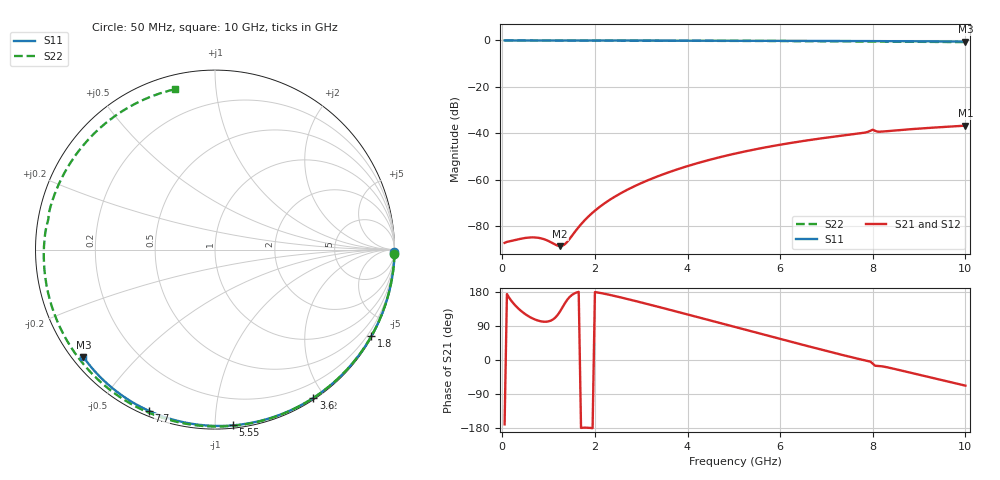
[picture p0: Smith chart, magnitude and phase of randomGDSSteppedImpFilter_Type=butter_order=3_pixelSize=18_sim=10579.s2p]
! freq	dB(S11)	phase(S11)	dB(S12)	phase(S12)
!  dB(S21)	phase(S21)	dB(S22)	phase(S22)
!S-par simulation data
#  GHz  S  DB  R 50
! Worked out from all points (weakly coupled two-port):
!   200 points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, 50 MHz to 10 GHz, reference 50 ohm
!   highest |S21| = -36.68 dB at 10 GHz (marker M1); lowest = -88.6 dB at 1.25 GHz (marker M2)
!   lowest |S11| = -0.5 dB at 10 GHz (marker M3), VSWR 36.29, Z = 1.55 - j17.8 ohm
!   |S11| at or under -10 dB: nowhere
!   |S22| runs from -0.7 to 0.0 dB; largest |S21 - S12| = 0
!   S11 on the Smith chart (normalised r, x): 50 MHz: open; 1.8 GHz: 0.03, -3.88; 3.6 GHz: 0.02, -1.86; 5.55 GHz: 0.02, -1.11; 7.7 GHz: 0.02, -0.67; 10 GHz: 0.03, -0.36
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0.05  -0.00 -0.8  -87.16 -169.8  -87.16 -169.8  -0.00 -1.3
0.65  -0.01 -10.6  -84.80 109.9  -84.80 109.9  -0.02 -16.1
1.25  -0.02 -20.2  -88.59 128.7  -88.59 128.7  -0.04 -30.8
1.65  -0.03 -26.6  -80.33 179.8  -80.33 179.8  -0.05 -40.5
1.75  -0.04 -28.1  -78.04 -178.6  -78.04 -178.6  -0.05 -42.9
1.8  -0.04 -28.9  -76.99 -178.5  -76.99 -178.5  -0.06 -44.1
2.1  -0.04 -33.6  -71.71 177.3  -71.71 177.3  -0.07 -51.2
2.45  -0.05 -39.1  -67.03 168.3  -67.03 168.3  -0.08 -59.5
2.9  -0.06 -46.0  -62.34 154.9  -62.34 154.9  -0.09 -69.9
3.4  -0.07 -53.5  -58.18 139.3  -58.18 139.3  -0.11 -81.4
3.6  -0.08 -56.5  -56.73 133.0  -56.73 133.0  -0.12 -86.0
4.3  -0.09 -66.7  -52.36 110.5  -52.36 110.5  -0.15 -101.8
5.05  -0.12 -77.3  -48.62 86.2  -48.62 86.2  -0.19 -118.6
5.55  -0.14 -84.2  -46.54 70.0  -46.54 70.0  -0.22 -129.9
6.7  -0.19 -99.5  -42.69 33.4  -42.69 33.4  -0.31 -156.8
7.7  -0.26 -112.3  -40.07 2.7  -40.07 2.7  -0.42 177.7
8  -0.28 -116.1  -38.43 -9.7  -38.43 -9.7  -0.50 169.7
8.1  -0.29 -117.3  -39.25 -15.6  -39.25 -15.6  -0.47 166.9
8.35  -0.31 -120.4  -38.99 -20.3  -38.99 -20.3  -0.50 159.5
9.15  -0.38 -130.3  -37.75 -43.5  -37.75 -43.5  -0.60 134.3
9.6  -0.43 -135.9  -37.17 -56.4  -37.17 -56.4  -0.67 118.7
10  -0.48 -140.8  -36.68 -67.7  -36.68 -67.7  -0.72 103.9
